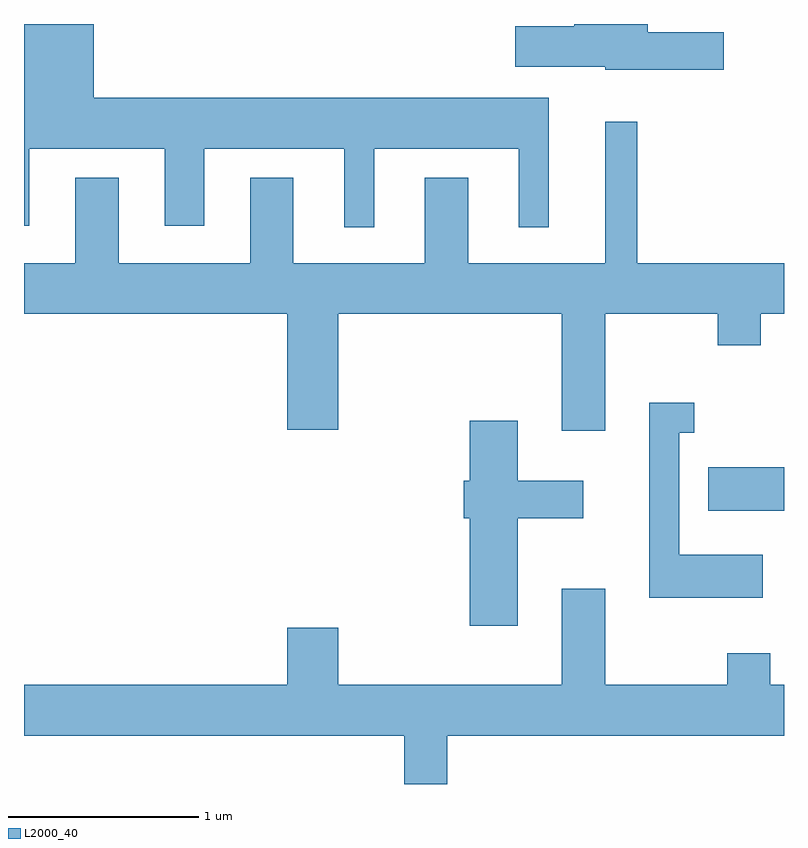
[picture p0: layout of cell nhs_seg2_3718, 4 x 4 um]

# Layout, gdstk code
import gdstk
lib = gdstk.Library(unit=1e-6, precision=1e-09)
def R(c, l, rs):  # rectangles x0, y0, x1, y1
    for r in rs: c.add(gdstk.rectangle(r[:2], r[2:], *l))
def P(c, l, *ps):  # polygons
    for p in ps: c.add(gdstk.Polygon(p, *l))
L2000_40 = (2000, 40)

nhs_seg2_3718 = lib.new_cell('nhs_seg2_3718')
R(nhs_seg2_3718, L2000_40, [(297.211,1087.241,297.611,1087.469)])
P(nhs_seg2_3718, L2000_40, [(297.294,1089.759),(296.894,1089.759),(296.894,1089.802),(296.506,1089.802),(296.506,1089.789),(296.196,1089.789),(296.196,1089.576),(296.67,1089.576),(296.67,1089.561),(297.294,1089.561)],
  [(295.454,1089.146),(296.216,1089.146),(296.216,1088.733),(296.374,1088.733),(296.374,1089.414),(293.979,1089.414),(293.979,1089.802),(293.611,1089.802),(293.611,1088.741),(293.639,1088.741),(293.639,1089.146),(294.351,1089.146),(294.351,1088.741),(294.559,1088.741),(294.559,1089.146),(295.296,1089.146),(295.296,1088.733),(295.454,1088.733)],
  [(296.669,1088.276),(297.261,1088.276),(297.261,1088.111),(297.489,1088.111),(297.489,1088.276),(297.611,1088.276),(297.611,1088.544),(296.839,1088.544),(296.839,1089.288),(296.671,1089.288),(296.671,1088.544),(295.949,1088.544),(295.949,1088.994),(295.721,1088.994),(295.721,1088.544),(295.029,1088.544),(295.029,1088.994),(294.801,1088.994),(294.801,1088.544),(294.109,1088.544),(294.109,1088.994),(293.881,1088.994),(293.881,1088.544),(293.611,1088.544),(293.611,1088.276),(294.996,1088.276),(294.996,1087.666),(295.264,1087.666),(295.264,1088.276),(296.441,1088.276),(296.441,1087.661),(296.669,1087.661)],
  [(297.499,1087.009),(297.059,1087.009),(297.059,1087.651),(297.138,1087.651),(297.138,1087.809),(296.901,1087.809),(296.901,1086.781),(297.499,1086.781)],
  [(296.209,1087.201),(296.554,1087.201),(296.554,1087.399),(296.209,1087.399),(296.209,1087.714),(295.956,1087.714),(295.956,1087.399),(295.926,1087.399),(295.926,1087.201),(295.956,1087.201),(295.956,1086.636),(296.209,1086.636)],
  [(295.839,1086.056),(297.611,1086.056),(297.611,1086.324),(297.539,1086.324),(297.539,1086.489),(297.311,1086.489),(297.311,1086.324),(296.669,1086.324),(296.669,1086.829),(296.441,1086.829),(296.441,1086.324),(295.264,1086.324),(295.264,1086.624),(294.996,1086.624),(294.996,1086.324),(293.611,1086.324),(293.611,1086.056),(295.611,1086.056),(295.611,1085.802),(295.839,1085.802)])

lib.write_gds('nhs_seg2_3718.gds')
